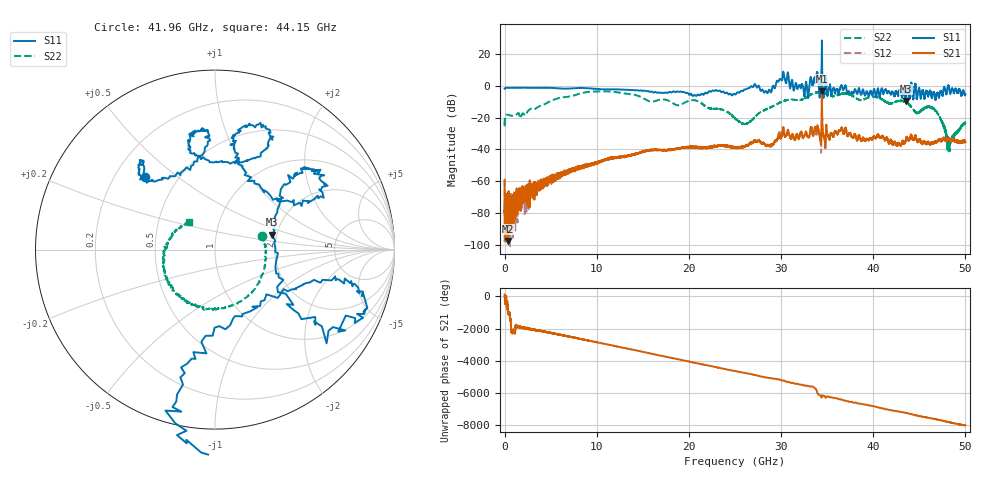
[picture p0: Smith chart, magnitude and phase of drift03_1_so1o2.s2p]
!Created with skrf (http://scikit-rf.org).
# Hz S RI R 50.0
!freq ReS11 ImS11 ReS21 ImS21 ReS12 ImS12 ReS22 ImS22
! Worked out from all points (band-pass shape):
!   10001 points, 300 kHz to 50 GHz, reference 50 ohm
!   highest |S21| = -3.58 dB at 34.43 GHz (marker M1); lowest = -97.4 dB at 395.3 MHz (marker M2)
!   |S21| within 3 dB of the highest: 34.42723 GHz to 34.43534 GHz (8.11 MHz wide, 0.0236 % of centre)
!   lowest |S11| = -9.7 dB at 43.52 GHz (marker M3), VSWR 1.97, Z = 94.1 + j17.4 ohm
!   |S11| at or under -10 dB: nowhere
!   |S22| runs from -41.1 to -3.6 dB; largest |S21 - S12| = 0.2
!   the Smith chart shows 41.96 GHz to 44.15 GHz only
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300000  -0.7793 -0.1577  -0.000513 0.000912  0.00118 -0.000351  -0.0475 -0.0756
3.952976e8  -0.5923 0.6121  1.25e-05 -5.25e-06  -7e-05 4.08e-05  0.0804 -0.0899
1.530291e9  0.853 0.0728  0.000237 -0.000463  5.49e-05 -0.000443  -0.0275 0.1348
3.155281e9  -0.8528 -0.0211  0.000103 0.000579  -8.73e-05 0.000772  0.00143 -0.1798
4.670272e9  0.8388 0.1396  0.000153 -0.000881  0.000487 -0.00101  0.0624 0.2874
8.33525e9  0.6666 -0.5174  -0.00182 -0.00222  -0.00172 -0.00221  0.5522 -0.1799
9.620242e9  -0.7929 -0.087  0.000466 0.00362  0.000625 0.00366  -0.6376 -0.1305
1.132523e10  0.761 0.0276  -0.00277 -0.0048  -0.00271 -0.00443  0.6257 -0.1949
1.66702e10  -0.3992 0.4476  0.00658 -0.00682  0.00674 -0.00695  0.3507 0.0144
2.500015e10  -0.1332 -0.5104  0.00795 0.00806  0.00766 0.00809  -0.0794 0.0518
2.675514e10  0.0259 0.9597  -0.0125 -0.00989  -0.0125 -0.0105  0.0795 -0.00996
2.821013e10  -0.192 -0.5899  0.0137 0.00649  0.013 0.00652  -0.1394 -0.1015
2.955012e10  -1.074 0.9232  -0.00295 -0.0193  -0.00275 -0.0198  0.08 0.2503
3.011012e10  0.5362 1.408  -0.0306 -0.000315  -0.0295 -9.13e-05  0.2991 0.0888
3.136011e10  0.0659 -0.6979  0.0234 0.00829  0.0239 0.00727  -0.0976 -0.3483
3.33351e10  -0.1365 1.286  -0.0429 0.00143  -0.0413 0.00172  0.5425 0.0189
3.443009e10  -22.65 -12.46  -0.2219 -0.6242  -0.3021 -0.4424  -0.2197 -0.5887
3.680508e10  0.7773 -0.0733  0.0277 0.0152  0.0273 0.0152  0.0876 -0.5419
4.167005e10  -0.6286 0.1627  -0.0155 0.00515  -0.0154 0.00479  0.146 0.2335
4.352004e10  0.3161 0.0825  0.0157 -0.0114  0.0154 -0.0107  -0.2805 -0.1073
4.823001e10  -0.8271 -0.2578  -0.011 0.0199  -0.0105 0.019  -0.014 0.00206
5e10  0.5091 -0.1636  0.000457 -0.0172  -0.000129 -0.016  0.0284 -0.0605
